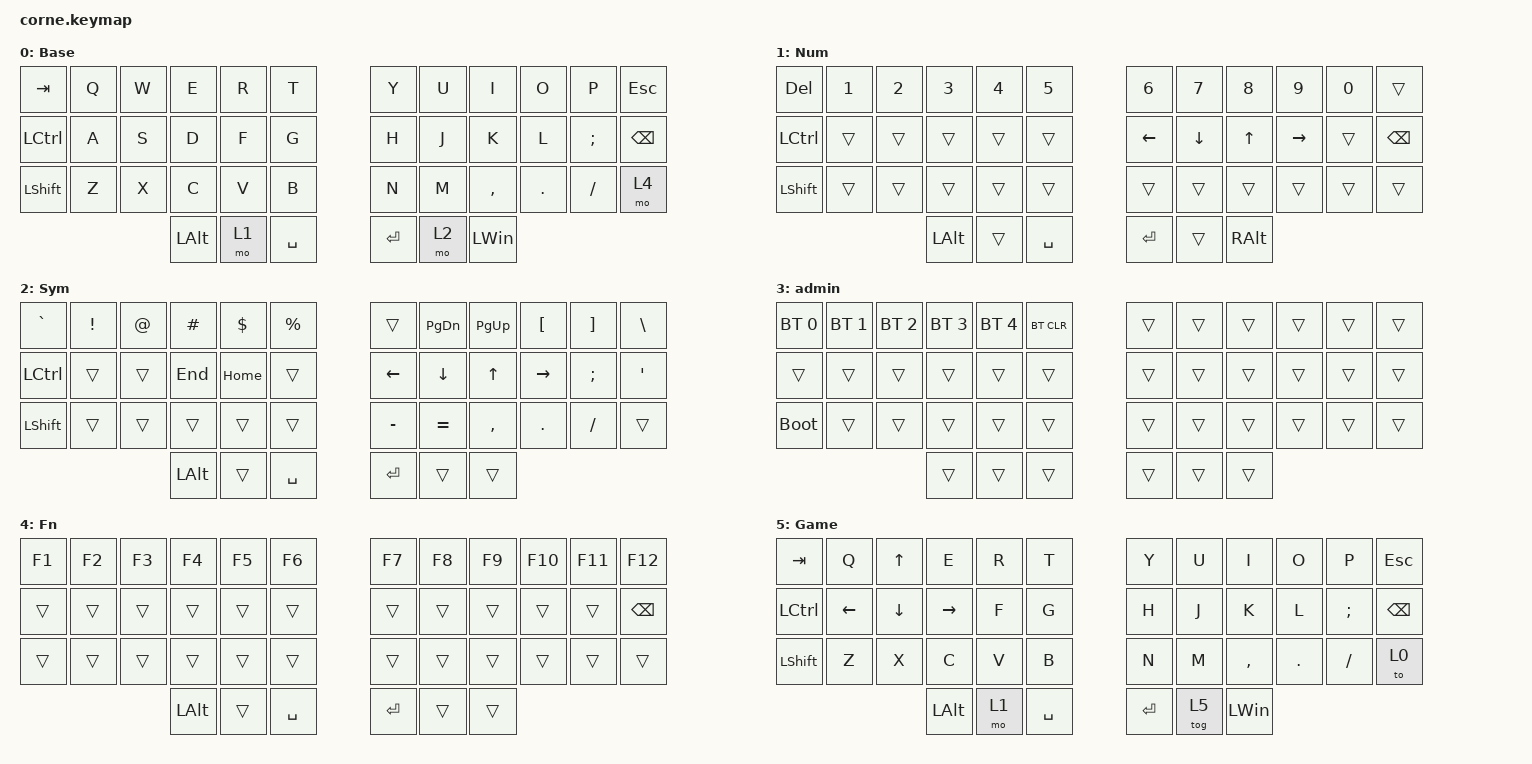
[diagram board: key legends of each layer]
/*
 * Copyright (c) 2020 The ZMK Contributors
 *
 * SPDX-License-Identifier: MIT
 *
 */

#include <behaviors.dtsi>
#include <dt-bindings/zmk/bt.h>
#include <dt-bindings/zmk/keys.h>

/ {
    combos {
        compatible = "zmk,combos";

        Game {
            bindings = <&tog 5>;
            key-positions = <40 37 6>;
        };
    };

    keymap {
        compatible = "zmk,keymap";

        default_layer {
            // -----------------------------------------------------------------------------------------
            // |  TAB |  Q  |  W  |  E  |  R  |  T  |   |  Y  |  U   |  I  |  O  |  P  | BKSP |
            // | CTRL |  A  |  S  |  D  |  F  |  G  |   |  H  |  J   |  K  |  L  |  ;  |  '   |
            // | SHFT |  Z  |  X  |  C  |  V  |  B  |   |  N  |  M   |  ,  |  .  |  /  | ESC  |
            //                    | GUI | LWR | SPC |   | ENT | RSE  | ALT |

            label = "Base";
            bindings = <
&kp TAB    &kp Q  &kp W  &kp E         &kp R  &kp T        &kp Y    &kp U  &kp I         &kp O    &kp P     &kp ESCAPE
&kp LCTRL  &kp A  &kp S  &kp D         &kp F  &kp G        &kp H    &kp J  &kp K         &kp L    &kp SEMI  &kp BACKSPACE
&kp LSHFT  &kp Z  &kp X  &kp C         &kp V  &kp B        &kp N    &kp M  &kp COMMA     &kp DOT  &kp FSLH  &mo 4
                         &kp LEFT_ALT  &mo 1  &kp SPACE    &kp RET  &mo 2  &kp LEFT_WIN
            >;
        };

        numbers {
            // -----------------------------------------------------------------------------------------
            // |  TAB |  1  |  2  |  3  |  4  |  5  |   |  6  |  7  |  8  |  9  |  0  | BKSP |
            // | BTCLR| BT1 | BT2 | BT3 | BT4 | BT5 |   | LFT | DWN |  UP | RGT |     |      |
            // | SHFT |     |     |     |     |     |   |     |     |     |     |     |      |
            //                    |BTCLR|     | SPC |   | ENT |     | ALT |

            label = "Num";
            bindings = <
&kp DELETE  &kp N1  &kp N2  &kp N3    &kp N4  &kp N5       &kp N6    &kp N7    &kp N8    &kp N9     &kp N0  &trans
&kp LCTRL   &trans  &trans  &trans    &trans  &trans       &kp LEFT  &kp DOWN  &kp UP    &kp RIGHT  &trans  &kp BACKSPACE
&kp LSHFT   &trans  &trans  &trans    &trans  &trans       &trans    &trans    &trans    &trans     &trans  &trans
                            &kp LALT  &trans  &kp SPACE    &kp RET   &trans    &kp RALT
            >;
        };

        Symbols {
            // -----------------------------------------------------------------------------------------
            // |  TAB |  !  |  @  |  #  |  $  |  %  |   |  ^  |  &  |  *  |  (  |  )  | BKSP |
            // | CTRL |     |     |     |     |     |   |  -  |  =  |  [  |  ]  |  \  |  `   |
            // | SHFT |     |     |     |     |     |   |  _  |  +  |  {  |  }  | "|" |  ~   |
            //                    | GUI |     | SPC |   | ENT |     | ALT |

            label = "Sym";
            bindings = <
&kp GRAVE  &kp EXCL  &kp AT  &kp HASH  &kp DLLR  &kp PRCNT    &trans     &kp PAGE_DOWN  &kp PAGE_UP   &kp LBKT         &kp RIGHT_BRACKET  &kp BACKSLASH
&kp LCTRL  &trans    &trans  &kp END   &kp HOME  &trans       &kp LEFT   &kp DOWN       &kp UP_ARROW  &kp RIGHT_ARROW  &kp SEMICOLON      &kp SINGLE_QUOTE
&kp LSHFT  &trans    &trans  &trans    &trans    &trans       &kp MINUS  &kp EQUAL      &kp COMMA     &kp PERIOD       &kp SLASH          &trans
                             &kp LALT  &trans    &kp SPACE    &kp RET    &trans         &trans
            >;
        };

        admin_layer {
            bindings = <
&bt BT_SEL 0  &bt BT_SEL 1  &bt BT_SEL 2  &bt BT_SEL 3  &bt BT_SEL 4  &bt BT_CLR    &trans  &trans  &trans  &trans  &trans  &trans
&trans        &trans        &trans        &trans        &trans        &trans        &trans  &trans  &trans  &trans  &trans  &trans
&bootloader   &trans        &trans        &trans        &trans        &trans        &trans  &trans  &trans  &trans  &trans  &trans
                                          &trans        &trans        &trans        &trans  &trans  &trans
            >;

            label = "admin";
        };

        Fn {
            bindings = <
&kp F1  &kp F2  &kp F3  &kp F4    &kp F5  &kp F6       &kp F7     &kp F8  &kp F9  &kp F10  &kp F11  &kp F12
&trans  &trans  &trans  &trans    &trans  &trans       &trans     &trans  &trans  &trans   &trans   &kp BSPC
&trans  &trans  &trans  &trans    &trans  &trans       &trans     &trans  &trans  &trans   &trans   &trans
                        &kp LALT  &trans  &kp SPACE    &kp ENTER  &trans  &trans
            >;

            label = "Fn";
        };

        Gaming {
            label = "Game";
            bindings = <
&kp TAB    &kp Q     &kp UP_ARROW  &kp E         &kp R  &kp T        &kp Y    &kp U   &kp I         &kp O    &kp P     &kp ESCAPE
&kp LCTRL  &kp LEFT  &kp DOWN      &kp RIGHT     &kp F  &kp G        &kp H    &kp J   &kp K         &kp L    &kp SEMI  &kp BACKSPACE
&kp LSHFT  &kp Z     &kp X         &kp C         &kp V  &kp B        &kp N    &kp M   &kp COMMA     &kp DOT  &kp FSLH  &to 0
                                   &kp LEFT_ALT  &mo 1  &kp SPACE    &kp RET  &tog 5  &kp LEFT_WIN
            >;
        };
    };

    conditional_layers {
        compatible = "zmk,conditional-layers";

        admin {
            if-layers = <1 2>;
            then-layer = <3>;
        };
    };
};
